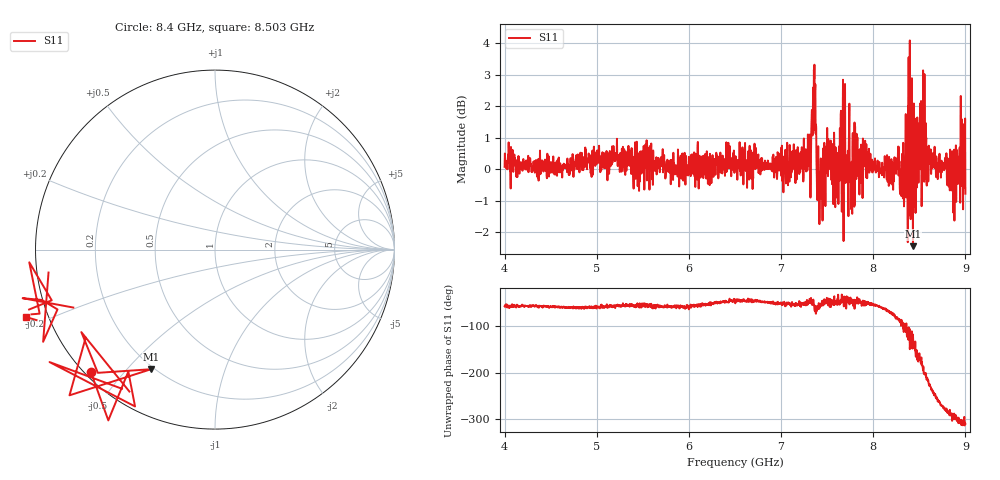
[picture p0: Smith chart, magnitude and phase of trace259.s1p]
! Created with skrf 1.8.0 (http://scikit-rf.org).
# Hz S RI R 50.0
!freq ReS11 ImS11
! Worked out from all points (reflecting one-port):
!   1601 points, 4 GHz to 9 GHz, reference 50 ohm
!   lowest |S11| = -2.4 dB at 8.431 GHz (marker M1), VSWR 7.19, Z = 9.39 - j29.2 ohm
!   phase of S11 starts at -57 deg and turns -252 deg over the sweep
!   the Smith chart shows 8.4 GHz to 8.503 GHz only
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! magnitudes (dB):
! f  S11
! 4 GHz  0.1
! 4.625 GHz  -0.3
! 5.25 GHz  -0.1
! 5.875 GHz  -0.1
! 6.5 GHz  0.0
! 7.125 GHz  0.6
! 7.297 GHz  0.1
! 7.356 GHz  3.2
! 7.412 GHz  -0.5
! 7.525 GHz  0.6
! 7.609 GHz  -0.2
! 7.669 GHz  1.6
! 7.75 GHz  -0.4
! 7.891 GHz  0.2
! 8.2 GHz  -0.2
! 8.256 GHz  0.1
! 8.316 GHz  0.0
! 8.375 GHz  -2.3
! 8.403 GHz  1.0
! 8.412 GHz  0.9
! 8.431 GHz  -2.4
! 8.45 GHz  0.0
! 8.522 GHz  0.7
! 8.603 GHz  0.7
! 8.712 GHz  0.4
! 8.844 GHz  0.1
! 8.972 GHz  0.3
! 9 GHz  -0.8
